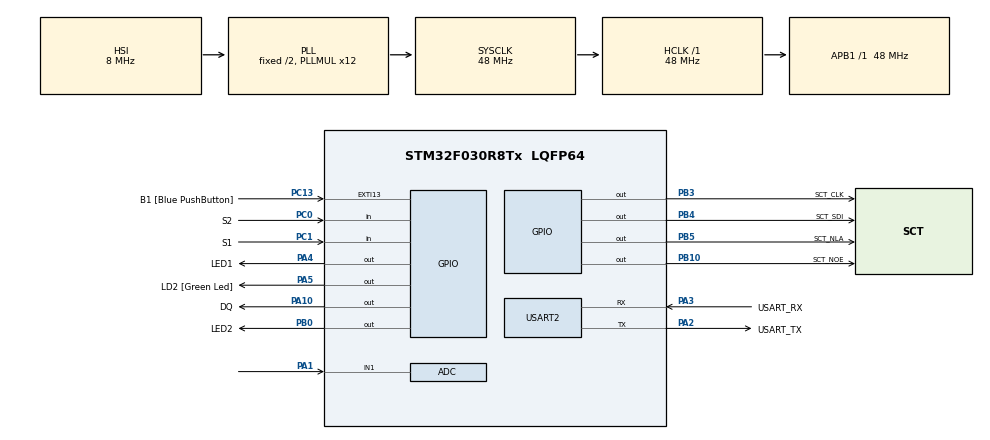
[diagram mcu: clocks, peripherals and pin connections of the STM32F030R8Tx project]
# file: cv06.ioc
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ADC.ContinuousConvMode=ENABLE
ADC.Overrun=ADC_OVR_DATA_OVERWRITTEN
ADC.Resolution=ADC_RESOLUTION_10B
Mcu.Family=STM32F0
Mcu.Name=STM32F030R8Tx
Mcu.Package=LQFP64
PA1.Mode=IN1
PA1.Signal=ADC_IN1
PA10.GPIO_Label=DQ
PA10.GPIO_ModeDefaultOutputPP=GPIO_MODE_OUTPUT_OD
PA10.PinState=GPIO_PIN_SET
PA10.Signal=GPIO_Output
PA13.GPIO_Label=TMS
PA13.Mode=Serial_Wire
PA13.Signal=SYS_SWDIO
PA14.GPIO_Label=TCK
PA14.Mode=Serial_Wire
PA14.Signal=SYS_SWCLK
PA2.GPIO_Label=USART_TX
PA2.GPIO_Mode=GPIO_MODE_AF_PP
PA2.GPIO_PuPd=GPIO_NOPULL
PA2.GPIO_Speed=GPIO_SPEED_FREQ_LOW
PA2.Mode=Asynchronous
PA2.Signal=USART2_TX
PA3.GPIO_Label=USART_RX
PA3.GPIO_Mode=GPIO_MODE_AF_PP
PA3.GPIO_PuPd=GPIO_NOPULL
PA3.GPIO_Speed=GPIO_SPEED_FREQ_LOW
PA3.Mode=Asynchronous
PA3.Signal=USART2_RX
PA4.GPIO_Label=LED1
PA4.Signal=GPIO_Output
PA5.GPIO_Label=LD2 [Green Led]
PA5.GPIO_Mode=GPIO_MODE_OUTPUT_PP
PA5.GPIO_PuPd=GPIO_NOPULL
PA5.GPIO_Speed=GPIO_SPEED_FREQ_LOW
PA5.Signal=GPIO_Output
PB0.GPIO_Label=LED2
PB0.Signal=GPIO_Output
PB10.GPIO_Label=SCT_NOE
PB10.Signal=GPIO_Output
PB3.GPIO_Label=SCT_CLK
PB3.Signal=GPIO_Output
PB4.GPIO_Label=SCT_SDI
PB4.Signal=GPIO_Output
PB5.GPIO_Label=SCT_NLA
PB5.Signal=GPIO_Output
PC0.GPIO_Label=S2
PC0.Signal=GPIO_Input
PC1.GPIO_Label=S1
PC1.Signal=GPIO_Input
PC13.GPIO_Label=B1 [Blue PushButton]
PC13.GPIO_ModeDefaultEXTI=GPIO_MODE_IT_FALLING
PC13.Signal=GPXTI13
PC14-OSC32_IN.Mode=LSE-External-Oscillator
PC14-OSC32_IN.Signal=RCC_OSC32_IN
PC15-OSC32_OUT.Mode=LSE-External-Oscillator
PC15-OSC32_OUT.Signal=RCC_OSC32_OUT
PF0-OSC_IN.Mode=HSE-External-Clock-Source
PF0-OSC_IN.Signal=RCC_OSC_IN
PF1-OSC_OUT.Signal=RCC_OSC_OUT
ProjectManager.HeapSize=0x200
ProjectManager.StackSize=0x400
ProjectManager.TargetToolchain=STM32CubeIDE
RCC.AHBFreq_Value=48000000
RCC.APB1Freq_Value=48000000
RCC.APB1TimFreq_Value=48000000
RCC.HCLKFreq_Value=48000000
RCC.PLLMUL=RCC_PLL_MUL12
RCC.SYSCLKFreq_VALUE=48000000
RCC.SYSCLKSource=RCC_SYSCLKSOURCE_PLLCLK
USART2.VirtualMode-Asynchronous=VM_ASYNC
board=NUCLEO-F030R8

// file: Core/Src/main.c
/* USER CODE BEGIN Header */
/**
  ******************************************************************************
  * @file           : main.c
  * @brief          : Main program body
  ******************************************************************************
  * @attention
  *
  * <h2><center>&copy; Copyright (c) 2021 STMicroelectronics.
  * All rights reserved.</center></h2>
  *
  * This software component is licensed by ST under BSD 3-Clause license,
  * the "License"; You may not use this file except in compliance with the
  * License. You may obtain a copy of the License at:
  *                        opensource.org/licenses/BSD-3-Clause
  *
  ******************************************************************************
  */
/* USER CODE END Header */
#include "main.h"

/* USER CODE BEGIN Includes */
#include "1wire.h"
#include "sct.h"
/* USER CODE END Includes */

/* USER CODE BEGIN PD */
#define DEBOUNCE_DELAY 40
/* USER CODE END PD */

ADC_HandleTypeDef hadc;

UART_HandleTypeDef huart2;

void SystemClock_Config(void);
static void MX_GPIO_Init(void);
static void MX_USART2_UART_Init(void);
static void MX_ADC_Init(void);

/* USER CODE BEGIN 0 */

void read18b20(int16_t *temp_18b20) {
	static enum {IDLE, CONVERTING} state_18b20 = IDLE;
	static uint32_t lastConversionStartedTick;
	switch(state_18b20) {
	case IDLE:
		OWConvertAll();
		lastConversionStartedTick = HAL_GetTick();
		state_18b20 = CONVERTING;
		break;
	case CONVERTING:
		if (HAL_GetTick() > lastConversionStartedTick + CONVERT_T_DELAY) {
			OWReadTemperature(temp_18b20);
			state_18b20 = IDLE;
		}
		break;
	}

}
void readNtc(int16_t *temp_ntc) {
	static const int16_t temp_table [] = {1429,1420,1412,1404,1395,1387,1379,1371,1363,1355,1347,1339,1331,1323,1316,1308,1300,1293,1285,1278,1271,1263,1256,1249,1242,1235,1228,1221,1214,
		1207,1200,1193,1187,1180,1173,1167,1160,1154,1148,1141,1135,1129,1123,1116,1110,1104,1098,1092,1086,1081,1075,1069,1063,1058,1052,1046,1041,1035,
		1030,1025,1019,1014,1009,1003,998,993,988,983,978,973,968,963,958,953,949,944,939,935,930,925,921,916,912,907,903,899,894,890,886,882,877,873,869,
		865,861,857,853,849,845,841,837,834,830,826,822,819,815,811,808,804,801,797,794,790,787,783,780,777,773,770,767,764,761,757,754,751,748,745,742,739,
		736,733,730,727,724,721,719,716,713,710,708,705,702,700,697,694,692,689,687,684,681,679,677,674,672,669,667,664,662,660,657,655,653,651,648,646,644,
		642,640,638,635,633,631,629,627,625,623,621,619,617,615,613,611,609,607,606,604,602,600,598,596,595,593,591,589,588,586,584,582,581,579,577,576,574,
		573,571,569,568,566,565,563,562,560,559,557,556,554,553,551,550,548,547,545,544,543,541,540,538,537,536,534,533,532,530,529,528,527,525,524,523,521,
		520,519,518,517,515,514,513,512,510,509,508,507,506,505,503,502,501,500,499,498,497,496,494,493,492,491,490,489,488,487,486,485,484,483,482,481,479,
		478,477,476,475,474,473,472,471,470,469,468,467,466,465,464,463,462,461,460,460,459,458,457,456,455,454,453,452,451,450,449,448,447,446,445,444,443,
		443,442,441,440,439,438,437,436,435,434,433,432,432,431,430,429,428,427,426,425,424,423,423,422,421,420,419,418,417,416,415,414,414,413,412,411,410,
		409,408,407,406,406,405,404,403,402,401,400,399,398,397,397,396,395,394,393,392,391,390,389,389,388,387,386,385,384,383,382,381,380,380,379,378,377,
		376,375,374,373,372,371,370,370,369,368,367,366,365,364,363,362,361,360,359,359,358,357,356,355,354,353,352,351,350,349,348,347,346,346,345,344,343,
		342,341,340,339,338,337,336,335,334,333,332,331,330,329,328,328,327,326,325,324,323,322,321,320,319,318,317,316,315,314,313,312,311,310,309,308,307,
		306,305,304,303,302,301,300,299,298,297,296,295,294,293,292,291,290,289,288,287,286,285,284,283,282,281,280,279,278,277,276,275,274,273,272,271,270,
		269,268,267,266,265,264,263,262,261,260,259,258,257,256,255,254,253,252,251,250,249,248,247,246,245,244,243,242,241,240,239,238,237,236,235,234,233,
		232,231,230,229,228,227,226,225,224,222,221,220,219,218,217,216,215,214,213,212,211,210,209,208,207,206,205,204,203,202,201,200,199,198,197,196,195,
		194,193,192,191,190,189,188,187,186,185,184,183,182,181,180,179,178,177,176,175,174,173,172,171,170,169,168,167,166,165,164,163,162,161,160,159,158,
		157,156,156,155,154,153,152,151,150,149,148,147,146,145,144,143,142,141,140,139,138,137,136,135,134,134,133,132,131,130,129,128,127,126,125,124,123,
		122,121,120,120,119,118,117,116,115,114,113,112,111,110,110,109,108,107,106,105,104,103,102,101,101,100,99,98,97,96,95,94,93,93,92,91,90,89,88,87,86,
		86,85,84,83,82,81,80,80,79,78,77,76,75,74,74,73,72,71,70,69,68,68,67,66,65,64,63,63,62,61,60,59,58,57,57,56,55,54,53,52,52,51,50,49,48,47,47,46,45,44,
		43,42,42,41,40,39,38,38,37,36,35,34,33,33,32,31,30,29,28,27,27,26,25,24,23,22,22,21,20,19,18,17,17,16,15,14,13,12,11,11,10,9,8,7,6,5,5,4,3,2,1,0,-1,-2,
		-3,-3,-4,-5,-6,-7,-8,-9,-10,-11,-12,-13,-13,-14,-15,-16,-17,-18,-19,-20,-21,-22,-23,-24,-25,-26,-27,-28,-29,-30,-31,-32,-33,-34,-35,-36,-37,-38,-39,-40,
		-41,-42,-43,-44,-45,-47,-48,-49,-50,-51,-52,-53,-54,-55,-57,-58,-59,-60,-61,-62,-64,-65,-66,-67,-69,-70,-71,-72,-74,-75,-76,-77,-79,-80,-81,-83,-84,-85,
		-87,-88,-89,-91,-92,-94,-95,-96,-98,-99,-101,-102,-104,-105,-107,-108,-110,-111,-113,-114,-116,-118,-119,-121,-123,-124,-126,-128,-129,-131,-133,-134,
		-136,-138,-140,-141,-143,-145,-147,-149,-151,-153,-154,-156,-158,-160,-162,-164,-166,-168,-170,-172,-174,-177,-179,-181,-183,-185,-187,-190,-192,-194,
		-196,-199,-201,-203,-206,-208,-210,-213,-215,-218,-220,-223,-225,-228,-230,-233,-235,-238,-241,-243,-246,-249,-252,-254,-257,-260,-263,-266,-269,-271,
		-274,-277,-280,-283,-286,-290,-293,-296,-299,-302,-305,-309,-312,-315,-319,-322,-325,-329,-332,-336,-339,-343,-346,-350,-354,-357,-361,-365,-369,-372,
		-376,-380,-384,-388,-392,-396,-400,-404,-408,-412,-416,-421,-425,-429,-433,-438,-442,-447,-451,-456,-460,-465,-469,-474,-479,-484,-488,-493,-498,-503,-508};

	uint16_t temp_ntc_ad = 0;
	int16_t temp_ntc_converted = 0;
	temp_ntc_ad = HAL_ADC_GetValue(&hadc);
    temp_ntc_converted = temp_table[temp_ntc_ad];
    *temp_ntc = temp_ntc_converted;
}
uint8_t readS1() {
	static uint8_t currentS1State;
	static uint8_t lastS1State;
	static uint32_t lastS1ReadTick;
	uint8_t returnValue;
	if (HAL_GetTick() > lastS1ReadTick + DEBOUNCE_DELAY) { // HAL_GetTick() > lastS1ReadTick + DEBOUNCE_DELAY
		currentS1State = HAL_GPIO_ReadPin(GPIOC, GPIO_PIN_1);
		if (currentS1State != lastS1State) {
			lastS1State = currentS1State;
			returnValue = currentS1State;
			return returnValue;
		}
	}
	returnValue = lastS1State;
	return returnValue;
}
uint8_t readS2() {
	static uint8_t currentS2State;
	static uint8_t lastS2State;
	static uint32_t lastS2ReadTick;
	uint8_t returnValue;
	if (HAL_GetTick() > lastS2ReadTick + DEBOUNCE_DELAY) {
		currentS2State = HAL_GPIO_ReadPin(GPIOC, GPIO_PIN_0);
		if (currentS2State != lastS2State) {
			lastS2State = currentS2State;
			returnValue = currentS2State;
			return returnValue;
		}
	}
	returnValue = lastS2State;
	return returnValue;
}
/* USER CODE END 0 */

int main(void)
{
  /* USER CODE BEGIN 1 */
	int16_t temp18b20;
	int16_t tempNtc;
	uint8_t s1State;
	uint8_t s2State;
	static enum {DISP_18B20, DISP_NTC} display_state = DISP_18B20;
  /* USER CODE END 1 */

  /* MCU Configuration--------------------------------------------------------*/

  /* Reset of all peripherals, Initializes the Flash interface and the Systick. */
  HAL_Init();

  /* Configure the system clock */
  SystemClock_Config();

  /* Initialize all configured peripherals */
  MX_GPIO_Init();
  MX_USART2_UART_Init();
  MX_ADC_Init();
  /* USER CODE BEGIN 2 */
  HAL_ADCEx_Calibration_Start(&hadc);
  HAL_ADC_Start(&hadc);
  sct_init();
  OWInit();

  /* USER CODE END 2 */

  /* Infinite loop */
  /* USER CODE BEGIN WHILE */
  while (1)
  {
	  read18b20(&temp18b20);
	  readNtc(&tempNtc);
	  s1State = readS1();
	  s2State = readS2();
	  if (!s1State)  display_state = DISP_18B20;
	  if (!s2State)  display_state = DISP_NTC;

	  switch(display_state) {
		  case DISP_18B20:
			  sct_value(temp18b20/10, 0);
			  HAL_GPIO_WritePin(GPIOB, GPIO_PIN_0, GPIO_PIN_SET);
			  HAL_GPIO_WritePin(GPIOA, GPIO_PIN_4, GPIO_PIN_RESET);
			  break;
		  case DISP_NTC:
			  sct_value(tempNtc, 0);
			  HAL_GPIO_WritePin(GPIOA, GPIO_PIN_4, GPIO_PIN_SET);
			  HAL_GPIO_WritePin(GPIOB, GPIO_PIN_0, GPIO_PIN_RESET);
			  break;
	  }

    /* USER CODE END WHILE */

  }
}

void SystemClock_Config(void)
{
  RCC_OscInitTypeDef RCC_OscInitStruct = {0};
  RCC_ClkInitTypeDef RCC_ClkInitStruct = {0};

  /** Initializes the RCC Oscillators according to the specified parameters
  * in the RCC_OscInitTypeDef structure.
  */
  RCC_OscInitStruct.OscillatorType = RCC_OSCILLATORTYPE_HSI|RCC_OSCILLATORTYPE_HSI14;
  RCC_OscInitStruct.HSIState = RCC_HSI_ON;
  RCC_OscInitStruct.HSI14State = RCC_HSI14_ON;
  RCC_OscInitStruct.HSICalibrationValue = RCC_HSICALIBRATION_DEFAULT;
  RCC_OscInitStruct.HSI14CalibrationValue = 16;
  RCC_OscInitStruct.PLL.PLLState = RCC_PLL_ON;
  RCC_OscInitStruct.PLL.PLLSource = RCC_PLLSOURCE_HSI;
  RCC_OscInitStruct.PLL.PLLMUL = RCC_PLL_MUL12;
  RCC_OscInitStruct.PLL.PREDIV = RCC_PREDIV_DIV1;
  if (HAL_RCC_OscConfig(&RCC_OscInitStruct) != HAL_OK)
  {
    Error_Handler();
  }
  /** Initializes the CPU, AHB and APB buses clocks
  */
  RCC_ClkInitStruct.ClockType = RCC_CLOCKTYPE_HCLK|RCC_CLOCKTYPE_SYSCLK
                              |RCC_CLOCKTYPE_PCLK1;
  RCC_ClkInitStruct.SYSCLKSource = RCC_SYSCLKSOURCE_PLLCLK;
  RCC_ClkInitStruct.AHBCLKDivider = RCC_SYSCLK_DIV1;
  RCC_ClkInitStruct.APB1CLKDivider = RCC_HCLK_DIV1;

  if (HAL_RCC_ClockConfig(&RCC_ClkInitStruct, FLASH_LATENCY_1) != HAL_OK)
  {
    Error_Handler();
  }
}

static void MX_ADC_Init(void)
{

  ADC_ChannelConfTypeDef sConfig = {0};

  /** Configure the global features of the ADC (Clock, Resolution, Data Alignment and number of conversion)
  */
  hadc.Instance = ADC1;
  hadc.Init.ClockPrescaler = ADC_CLOCK_ASYNC_DIV1;
  hadc.Init.Resolution = ADC_RESOLUTION_10B;
  hadc.Init.DataAlign = ADC_DATAALIGN_RIGHT;
  hadc.Init.ScanConvMode = ADC_SCAN_DIRECTION_FORWARD;
  hadc.Init.EOCSelection = ADC_EOC_SINGLE_CONV;
  hadc.Init.LowPowerAutoWait = DISABLE;
  hadc.Init.LowPowerAutoPowerOff = DISABLE;
  hadc.Init.ContinuousConvMode = ENABLE;
  hadc.Init.DiscontinuousConvMode = DISABLE;
  hadc.Init.ExternalTrigConv = ADC_SOFTWARE_START;
  hadc.Init.ExternalTrigConvEdge = ADC_EXTERNALTRIGCONVEDGE_NONE;
  hadc.Init.DMAContinuousRequests = DISABLE;
  hadc.Init.Overrun = ADC_OVR_DATA_OVERWRITTEN;
  if (HAL_ADC_Init(&hadc) != HAL_OK)
  {
    Error_Handler();
  }
  /** Configure for the selected ADC regular channel to be converted.
  */
  sConfig.Channel = ADC_CHANNEL_1;
  sConfig.Rank = ADC_RANK_CHANNEL_NUMBER;
  sConfig.SamplingTime = ADC_SAMPLETIME_1CYCLE_5;
  if (HAL_ADC_ConfigChannel(&hadc, &sConfig) != HAL_OK)
  {
    Error_Handler();
  }

}

static void MX_USART2_UART_Init(void)
{

  huart2.Instance = USART2;
  huart2.Init.BaudRate = 38400;
  huart2.Init.WordLength = UART_WORDLENGTH_8B;
  huart2.Init.StopBits = UART_STOPBITS_1;
  huart2.Init.Parity = UART_PARITY_NONE;
  huart2.Init.Mode = UART_MODE_TX_RX;
  huart2.Init.HwFlowCtl = UART_HWCONTROL_NONE;
  huart2.Init.OverSampling = UART_OVERSAMPLING_16;
  huart2.Init.OneBitSampling = UART_ONE_BIT_SAMPLE_DISABLE;
  huart2.AdvancedInit.AdvFeatureInit = UART_ADVFEATURE_NO_INIT;
  if (HAL_UART_Init(&huart2) != HAL_OK)
  {
    Error_Handler();
  }

}

static void MX_GPIO_Init(void)
{
  GPIO_InitTypeDef GPIO_InitStruct = {0};

  /* GPIO Ports Clock Enable */
  __HAL_RCC_GPIOC_CLK_ENABLE();
  __HAL_RCC_GPIOF_CLK_ENABLE();
  __HAL_RCC_GPIOA_CLK_ENABLE();
  __HAL_RCC_GPIOB_CLK_ENABLE();

  /*Configure GPIO pin Output Level */
  HAL_GPIO_WritePin(GPIOA, LED1_Pin|LD2_Pin, GPIO_PIN_RESET);

  /*Configure GPIO pin Output Level */
  HAL_GPIO_WritePin(GPIOB, LED2_Pin|SCT_NOE_Pin|SCT_CLK_Pin|SCT_SDI_Pin
                          |SCT_NLA_Pin, GPIO_PIN_RESET);

  /*Configure GPIO pin Output Level */
  HAL_GPIO_WritePin(DQ_GPIO_Port, DQ_Pin, GPIO_PIN_SET);

  /*Configure GPIO pin : B1_Pin */
  GPIO_InitStruct.Pin = B1_Pin;
  GPIO_InitStruct.Mode = GPIO_MODE_IT_FALLING;
  GPIO_InitStruct.Pull = GPIO_NOPULL;
  HAL_GPIO_Init(B1_GPIO_Port, &GPIO_InitStruct);

  /*Configure GPIO pins : S2_Pin S1_Pin */
  GPIO_InitStruct.Pin = S2_Pin|S1_Pin;
  GPIO_InitStruct.Mode = GPIO_MODE_INPUT;
  GPIO_InitStruct.Pull = GPIO_NOPULL;
  HAL_GPIO_Init(GPIOC, &GPIO_InitStruct);

  /*Configure GPIO pins : LED1_Pin LD2_Pin */
  GPIO_InitStruct.Pin = LED1_Pin|LD2_Pin;
  GPIO_InitStruct.Mode = GPIO_MODE_OUTPUT_PP;
  GPIO_InitStruct.Pull = GPIO_NOPULL;
  GPIO_InitStruct.Speed = GPIO_SPEED_FREQ_LOW;
  HAL_GPIO_Init(GPIOA, &GPIO_InitStruct);

  /*Configure GPIO pins : LED2_Pin SCT_NOE_Pin SCT_CLK_Pin SCT_SDI_Pin
                           SCT_NLA_Pin */
  GPIO_InitStruct.Pin = LED2_Pin|SCT_NOE_Pin|SCT_CLK_Pin|SCT_SDI_Pin
                          |SCT_NLA_Pin;
  GPIO_InitStruct.Mode = GPIO_MODE_OUTPUT_PP;
  GPIO_InitStruct.Pull = GPIO_NOPULL;
  GPIO_InitStruct.Speed = GPIO_SPEED_FREQ_LOW;
  HAL_GPIO_Init(GPIOB, &GPIO_InitStruct);

  /*Configure GPIO pin : DQ_Pin */
  GPIO_InitStruct.Pin = DQ_Pin;
  GPIO_InitStruct.Mode = GPIO_MODE_OUTPUT_OD;
  GPIO_InitStruct.Pull = GPIO_NOPULL;
  GPIO_InitStruct.Speed = GPIO_SPEED_FREQ_LOW;
  HAL_GPIO_Init(DQ_GPIO_Port, &GPIO_InitStruct);

}

void Error_Handler(void)
{
  __disable_irq();
  while (1)
  {
  }
}

/************************ (C) COPYRIGHT STMicroelectronics *****END OF FILE****/
